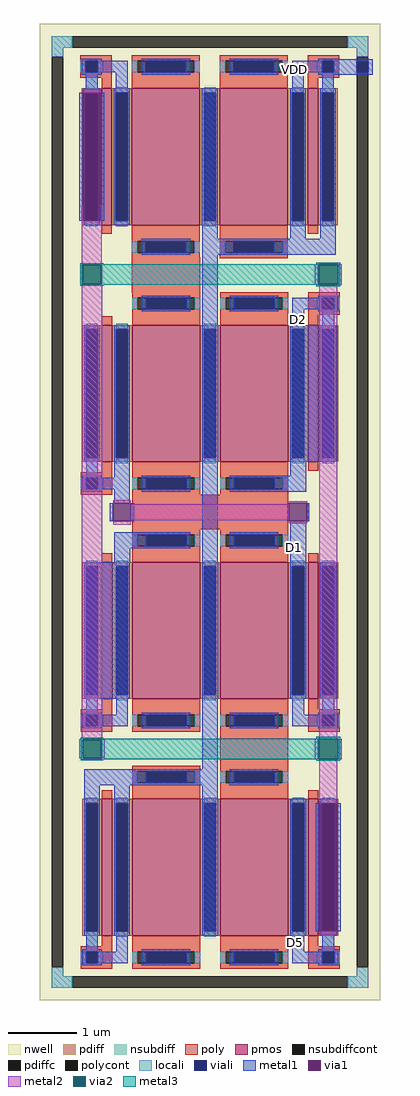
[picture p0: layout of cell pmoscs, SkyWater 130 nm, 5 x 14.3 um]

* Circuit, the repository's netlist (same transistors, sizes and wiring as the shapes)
** sch_path: /home/raphael03/MSIB/opamp/mag/pmoscs.sch
.subckt pmoscs VDD D5 D2 D1 VDD D1 D2 D5 VDD VDD VDD VDD
*.PININFO VDD:B D5:B D2:B D1:B VDD:B D1:B D2:B D5:B VDD:B VDD:B VDD:B VDD:B
XM1 D1 D2 VDD VDD sky130_fd_pr__pfet_01v8 L=1 W=2 nf=1 m=2
XM2 D2 D2 VDD VDD sky130_fd_pr__pfet_01v8 L=1 W=2 nf=1 m=2
XM5 D5 D2 VDD VDD sky130_fd_pr__pfet_01v8 L=1 W=2 nf=1 m=2
XM3 VDD VDD VDD VDD sky130_fd_pr__pfet_01v8 L=1 W=2 nf=1 m=2
XM4 D1 D1 D1 VDD sky130_fd_pr__pfet_01v8 L=0.15 W=2 nf=1 m=2
XM6 D2 D2 D2 VDD sky130_fd_pr__pfet_01v8 L=0.15 W=2 nf=1 m=2
XM7 D5 D5 D5 VDD sky130_fd_pr__pfet_01v8 L=0.15 W=2 nf=1 m=2
XM8 VDD VDD VDD VDD sky130_fd_pr__pfet_01v8 L=0.15 W=2 nf=1 m=2
.ends
.end

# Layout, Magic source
magic
tech sky130A
magscale 1 2
<< nwell >>
rect -153 -1705 846 1155
<< nsubdiff >>
rect -117 1085 -57 1119
rect 750 1085 810 1119
rect -117 1059 -83 1085
rect 776 1059 810 1085
rect -117 -1635 -83 -1609
rect 776 -1635 810 -1609
rect -117 -1669 -57 -1635
rect 750 -1669 810 -1635
<< nsubdiffcont >>
rect -57 1085 750 1119
rect -117 -1609 -83 1059
rect 776 -1609 810 1059
rect -57 -1669 750 -1635
<< poly >>
rect -33 1047 59 1063
rect -33 1013 -17 1047
rect 17 1013 59 1047
rect -33 997 59 1013
rect 29 966 59 997
rect 633 1047 725 1063
rect 633 1013 675 1047
rect 709 1013 725 1047
rect 633 997 725 1013
rect 633 991 663 997
rect 117 369 318 470
rect 634 353 726 369
rect 634 319 676 353
rect 710 319 726 353
rect 634 303 726 319
rect 634 272 664 303
rect 30 -159 60 -128
rect -32 -175 60 -159
rect -32 -209 -16 -175
rect 18 -209 60 -175
rect -32 -225 60 -209
rect 118 -325 576 -225
rect 30 -853 60 -822
rect -32 -869 60 -853
rect -32 -903 -16 -869
rect 18 -903 60 -869
rect -32 -919 60 -903
rect 634 -853 664 -822
rect 634 -869 726 -853
rect 634 -903 676 -869
rect 710 -903 726 -869
rect 376 -1021 576 -918
rect 634 -919 726 -903
rect 30 -1547 60 -1516
rect -32 -1563 60 -1547
rect -32 -1597 -16 -1563
rect 18 -1597 60 -1563
rect -32 -1613 60 -1597
rect 634 -1547 664 -1516
rect 634 -1563 726 -1547
rect 634 -1597 676 -1563
rect 710 -1597 726 -1563
rect 634 -1613 726 -1597
<< polycont >>
rect -17 1013 17 1047
rect 675 1013 709 1047
rect 676 319 710 353
rect -16 -209 18 -175
rect -16 -903 18 -869
rect 676 -903 710 -869
rect -16 -1597 18 -1563
rect 676 -1597 710 -1563
<< locali >>
rect -117 1085 -57 1119
rect 750 1085 810 1119
rect -117 1059 -83 1085
rect 776 1059 810 1085
rect -33 1013 -17 1047
rect 17 1013 33 1047
rect 659 1013 675 1047
rect 709 1013 725 1047
rect -17 966 17 1013
rect 71 966 105 970
rect 675 954 709 1013
rect 660 319 676 353
rect 710 319 726 353
rect 588 272 622 276
rect 676 272 710 319
rect -16 -175 18 -128
rect 72 -132 106 -128
rect -32 -209 -16 -175
rect 18 -209 34 -175
rect -16 -869 18 -822
rect 72 -826 106 -822
rect 588 -826 622 -822
rect 676 -869 710 -822
rect -32 -903 -16 -869
rect 18 -903 34 -869
rect 660 -903 676 -869
rect 710 -903 726 -869
rect -16 -1563 18 -1516
rect 72 -1520 106 -1516
rect 588 -1520 622 -1516
rect 676 -1563 710 -1516
rect -32 -1597 -16 -1563
rect 18 -1597 34 -1563
rect 660 -1597 676 -1563
rect 710 -1597 726 -1563
rect -117 -1635 -83 -1609
rect 776 -1635 810 -1609
rect -117 -1669 -57 -1635
rect 750 -1669 810 -1635
<< viali >>
rect -17 1013 17 1047
rect 675 1013 709 1047
rect 776 1012 810 1046
rect 676 319 710 353
rect -16 -209 18 -175
rect -16 -903 18 -869
rect 676 -903 710 -869
rect -16 -1597 18 -1563
rect 676 -1597 710 -1563
<< metal1 >>
rect -29 1047 29 1053
rect 663 1052 721 1053
rect 663 1047 823 1052
rect -29 1013 -17 1047
rect 17 1013 105 1047
rect -29 1007 29 1013
rect -17 966 17 1007
rect 71 966 105 1013
rect 587 1013 675 1047
rect 709 1046 823 1047
rect 709 1013 776 1046
rect -36 578 -26 954
rect 26 578 36 954
rect 324 525 369 966
rect 587 961 621 1013
rect 663 1012 776 1013
rect 810 1012 823 1046
rect 663 1007 823 1012
rect 664 1006 823 1007
rect 675 954 709 1006
rect 581 525 627 566
rect 669 525 715 566
rect 324 479 404 525
rect 546 479 715 525
rect -16 -169 18 -128
rect -28 -175 30 -169
rect 66 -175 112 -128
rect -28 -209 -16 -175
rect 18 -209 112 -175
rect -28 -215 30 -209
rect 66 -250 112 -209
rect 53 -302 63 -250
rect 115 -302 125 -250
rect 66 -381 147 -335
rect 66 -422 113 -381
rect -22 -822 112 -422
rect -16 -863 18 -822
rect -28 -869 30 -863
rect 72 -869 106 -822
rect -28 -903 -16 -869
rect 18 -903 106 -869
rect -28 -909 30 -903
rect 324 -1029 369 479
rect 664 353 722 359
rect 588 319 676 353
rect 710 319 722 353
rect 588 272 622 319
rect 664 313 722 319
rect 676 272 710 313
rect 582 -128 716 272
rect 582 -169 628 -128
rect 547 -215 628 -169
rect 573 -302 579 -250
rect 631 -302 637 -250
rect 582 -429 628 -302
rect 588 -869 622 -822
rect 676 -863 710 -822
rect 664 -869 722 -863
rect 588 -903 676 -869
rect 710 -903 722 -869
rect 664 -909 722 -903
rect -22 -1075 147 -1029
rect 289 -1075 369 -1029
rect -22 -1116 24 -1075
rect 66 -1116 112 -1075
rect 324 -1516 369 -1075
rect 657 -1504 667 -1128
rect 719 -1504 729 -1128
rect -16 -1557 18 -1516
rect -28 -1563 30 -1557
rect 72 -1563 106 -1516
rect -28 -1597 -16 -1563
rect 18 -1597 106 -1563
rect 588 -1563 622 -1516
rect 676 -1557 710 -1516
rect 664 -1563 722 -1557
rect 588 -1597 676 -1563
rect 710 -1597 722 -1563
rect -28 -1603 30 -1597
rect 664 -1603 722 -1597
<< via1 >>
rect -26 578 26 954
rect 63 -302 115 -250
rect 579 -302 631 -250
rect 667 -1504 719 -1128
<< metal2 >>
rect -26 954 26 964
rect -30 578 -26 625
rect 26 578 30 625
rect -30 453 30 578
rect -30 449 31 453
rect -30 393 -28 449
rect 28 393 31 449
rect -30 391 31 393
rect 654 391 663 451
rect 723 391 732 451
rect -29 -941 31 391
rect 63 -250 115 -240
rect 579 -250 631 -244
rect 115 -299 579 -253
rect 63 -312 115 -302
rect 579 -308 631 -302
rect 667 -939 719 391
rect -36 -997 -27 -941
rect 29 -997 38 -941
rect -29 -999 31 -997
rect 654 -999 663 -939
rect 723 -999 732 -939
rect 667 -1128 719 -999
rect 667 -1514 719 -1504
<< via2 >>
rect -28 393 28 449
rect 663 391 723 451
rect -27 -997 29 -941
rect 663 -999 723 -939
<< metal3 >>
rect -33 451 33 454
rect 658 451 728 456
rect -33 449 663 451
rect -33 393 -28 449
rect 28 393 663 449
rect -33 391 663 393
rect 723 391 728 451
rect -33 388 33 391
rect 658 386 728 391
rect -32 -939 34 -936
rect 658 -939 728 -934
rect -32 -941 663 -939
rect -32 -997 -27 -941
rect 29 -997 663 -941
rect -32 -999 663 -997
rect 723 -999 728 -939
rect -32 -1002 34 -999
rect 658 -1004 728 -999
use sky130_fd_pr__pfet_01v8_2ZH9AN  sky130_fd_pr__pfet_01v8_2ZH9AN_1
transform 1 0 45 0 1 -1316
box -109 -262 109 262
use sky130_fd_pr__pfet_01v8_2ZH9AN  sky130_fd_pr__pfet_01v8_2ZH9AN_2
transform 1 0 45 0 1 -622
box -109 -262 109 262
use sky130_fd_pr__pfet_01v8_2ZH9AN  sky130_fd_pr__pfet_01v8_2ZH9AN_3
transform 1 0 45 0 1 72
box -109 -262 109 262
use sky130_fd_pr__pfet_01v8_2ZH9AN  sky130_fd_pr__pfet_01v8_2ZH9AN_4
transform 1 0 44 0 1 766
box -109 -262 109 262
use sky130_fd_pr__pfet_01v8_2ZH9AN  sky130_fd_pr__pfet_01v8_2ZH9AN_5
transform 1 0 649 0 1 -1316
box -109 -262 109 262
use sky130_fd_pr__pfet_01v8_2ZH9AN  sky130_fd_pr__pfet_01v8_2ZH9AN_6
transform 1 0 648 0 1 766
box -109 -262 109 262
use sky130_fd_pr__pfet_01v8_2ZH9AN  sky130_fd_pr__pfet_01v8_2ZH9AN_7
transform 1 0 649 0 1 72
box -109 -262 109 262
use sky130_fd_pr__pfet_01v8_2ZH9AN  sky130_fd_pr__pfet_01v8_2ZH9AN_8
transform 1 0 649 0 1 -622
box -109 -262 109 262
use sky130_fd_pr__pfet_01v8_SDE6B7  sky130_fd_pr__pfet_01v8_SDE6B7_0
transform 1 0 346 0 1 766
box -323 -300 323 300
use sky130_fd_pr__pfet_01v8_SDE6B7  sky130_fd_pr__pfet_01v8_SDE6B7_1
transform 1 0 347 0 1 72
box -323 -300 323 300
use sky130_fd_pr__pfet_01v8_SDE6B7  sky130_fd_pr__pfet_01v8_SDE6B7_2
transform 1 0 347 0 1 -622
box -323 -300 323 300
use sky130_fd_pr__pfet_01v8_SDE6B7  sky130_fd_pr__pfet_01v8_SDE6B7_3
transform 1 0 347 0 1 -1316
box -323 -300 323 300
<< labels >>
flabel metal1 594 -378 594 -378 0 FreeSans 800 0 0 0 D1
port 0 nsew
flabel metal1 598 -1536 598 -1536 0 FreeSans 800 0 0 0 D5
port 1 nsew
flabel metal1 606 290 606 290 0 FreeSans 800 0 0 0 D2
port 2 nsew
flabel metal1 594 1022 594 1022 0 FreeSans 800 0 0 0 VDD
port 3 nsew
<< end >>

# cell sky130_fd_pr__pfet_01v8_2ZH9AN: kit device sky130_fd_pr__pfet_01v8, w 2 l 0.15 m 1 nf 1 diffcov 100 polycov 100 guard 0 glc 1 grc 1 gtc 1 gbc 1 tbcov 100 rlcov 100 topc 0 botc 0 poverlap 0 doverlap 1 lmin 0.15 wmin 0.42 compatible {sky130_fd_pr__pfet_01v8 sky130_fd_pr__pfet_01v8_lvt sky130_fd_pr__pfet_01v8_hvt sky130_fd_pr__pfet_g5v0d10v5} full_metal 1 viasrc 100 viadrn 100 viagate 100 viagb 0 viagr 0 viagl 0 viagt 0

# cell sky130_fd_pr__pfet_01v8_SDE6B7: kit device sky130_fd_pr__pfet_01v8, w 2 l 1 m 1 nf 2 diffcov 100 polycov 100 guard 0 glc 1 grc 1 gtc 1 gbc 1 tbcov 100 rlcov 100 topc 1 botc 1 poverlap 0 doverlap 1 lmin 0.15 wmin 0.42 compatible {sky130_fd_pr__pfet_01v8 sky130_fd_pr__pfet_01v8_lvt sky130_fd_pr__pfet_01v8_hvt sky130_fd_pr__pfet_g5v0d10v5} full_metal 1 viasrc 100 viadrn 100 viagate 70 viagb 0 viagr 0 viagl 0 viagt 0
